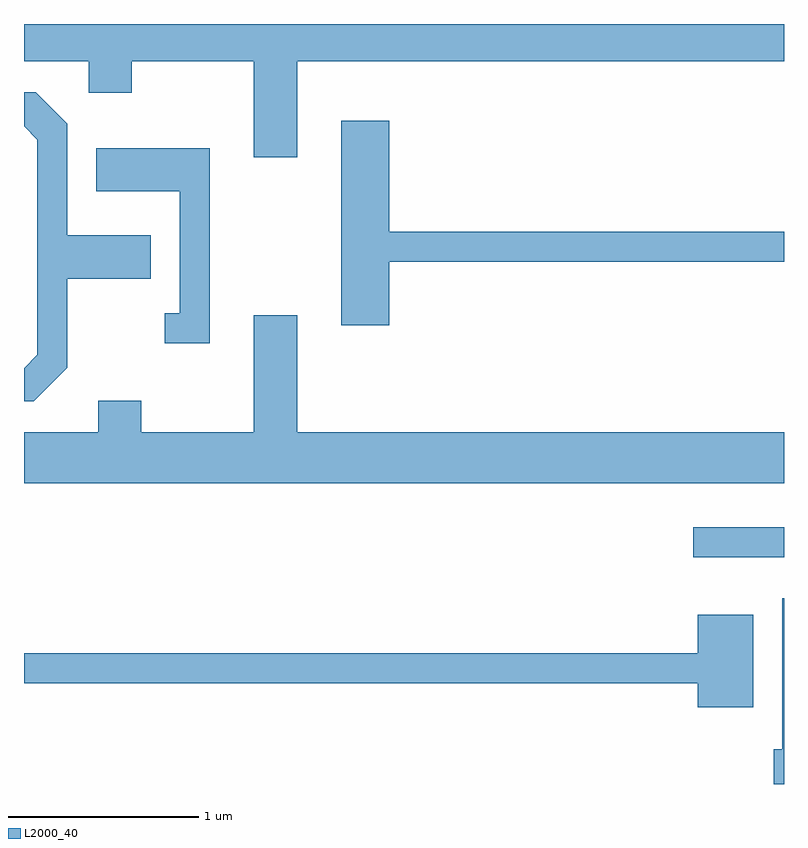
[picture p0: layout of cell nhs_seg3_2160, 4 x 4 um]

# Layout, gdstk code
import gdstk
lib = gdstk.Library(unit=1e-6, precision=1e-09)
def R(c, l, rs):  # rectangles x0, y0, x1, y1
    for r in rs: c.add(gdstk.rectangle(r[:2], r[2:], *l))
def P(c, l, *ps):  # polygons
    for p in ps: c.add(gdstk.Polygon(p, *l))
L2000_40 = (2000, 40)

nhs_seg3_2160 = lib.new_cell('nhs_seg3_2160')
R(nhs_seg3_2160, L2000_40, [(251.133,1221.086,251.611,1221.244)])
P(nhs_seg3_2160, L2000_40, [(249.049,1223.696),(251.611,1223.696),(251.611,1223.892),(247.611,1223.892),(247.611,1223.696),(247.951,1223.696),(247.951,1223.531),(248.179,1223.531),(248.179,1223.696),(248.821,1223.696),(248.821,1223.191),(249.049,1223.191)],
  [(247.839,1222.084),(247.839,1222.551),(248.279,1222.551),(248.279,1222.779),(247.839,1222.779),(247.839,1223.367),(247.672,1223.534),(247.611,1223.534),(247.611,1223.354),(247.681,1223.284),(247.681,1222.152),(247.611,1222.081),(247.611,1221.906),(247.662,1221.906)],
  [(249.534,1222.641),(251.611,1222.641),(251.611,1222.799),(249.534,1222.799),(249.534,1223.384),(249.281,1223.384),(249.281,1222.306),(249.534,1222.306)],
  [(248.589,1223.239),(247.991,1223.239),(247.991,1223.011),(248.431,1223.011),(248.431,1222.369),(248.353,1222.369),(248.353,1222.211),(248.589,1222.211)],
  [(251.611,1221.744),(249.049,1221.744),(249.049,1222.359),(248.821,1222.359),(248.821,1221.744),(248.229,1221.744),(248.229,1221.909),(248.001,1221.909),(248.001,1221.744),(247.611,1221.744),(247.611,1221.476),(251.611,1221.476)],
  [(251.611,1220.869),(251.601,1220.869),(251.601,1220.074),(251.556,1220.074),(251.556,1219.892),(251.611,1219.892)],
  [(251.449,1220.784),(251.156,1220.784),(251.156,1220.579),(247.611,1220.579),(247.611,1220.421),(251.156,1220.421),(251.156,1220.296),(251.449,1220.296)])

lib.write_gds('nhs_seg3_2160.gds')
